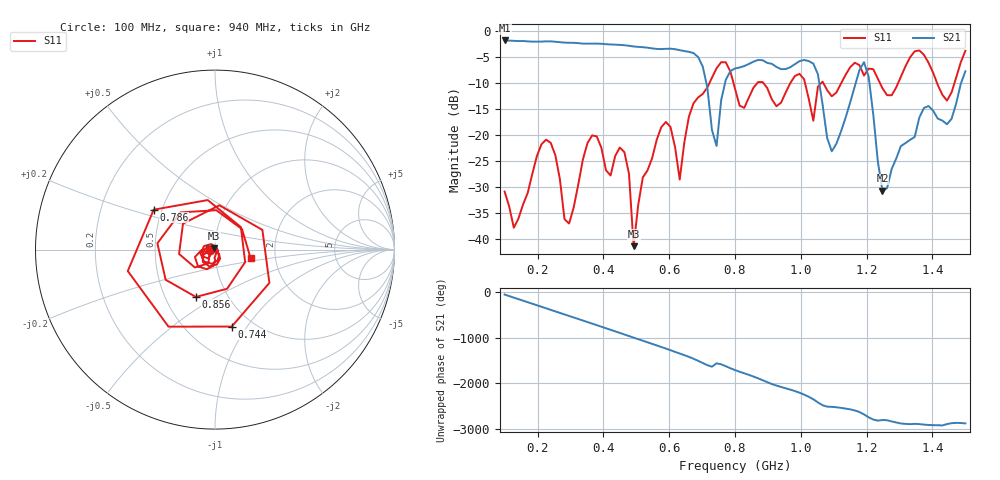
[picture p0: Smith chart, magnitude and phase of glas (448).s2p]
! NanoVNA-App
! Date: 2025-09-25 15:58:58
! Start: 100MHz Stop: 1,5GHz Points: 101
! S-Parameter data: F S11 S21 S12 S22
# Hz S RI R 50
!  Frequency  S11_Real  S11_Imag  S21_Real  S21_Imag  S12_Real  S12_Imag  S22_Real  S22_Imag
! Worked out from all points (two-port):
!   101 points, 100 MHz to 1.5 GHz, reference 50 ohm
!   highest |S21| = -1.80 dB at 100 MHz (marker M1); lowest = -30.8 dB at 1.248 GHz (marker M2)
!   |S21| within 3 dB of the highest: start of sweep to 684.4 MHz
!   lowest |S11| = -41.5 dB at 492 MHz (marker M3), VSWR 1.02, Z = 49.5 + j0.658 ohm
!   |S11| at or under -10 dB: start of sweep to 722.5 MHz; 795.4 MHz to 867.8 MHz (72.48 MHz wide, 8.72 % of centre); 886.2 MHz to 968.3 MHz (82.08 MHz wide, 8.85 % of centre) (the widest 3 of 7)
!   S12 and S22 are empty: the file has one direction only
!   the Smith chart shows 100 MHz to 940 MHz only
!   S11 on the Smith chart (normalised r, x): 100 MHz: 0.95, -0.01; 744 MHz: 0.80, -0.85; 786 MHz: 0.45, +0.24; 856 MHz: 0.71, -0.41; 940 MHz: 1.49, -0.15
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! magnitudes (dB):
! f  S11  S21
! 100 MHz  -30.9  -1.8
! 128 MHz  -37.9  -1.9
! 226 MHz  -20.9  -2.0
! 296 MHz  -37.1  -2.2
! 338 MHz  -24.7  -2.4
! 464 MHz  -23.3  -2.7
! 492 MHz  -41.5  -3.0
! 576 MHz  -18.5  -3.5
! 632 MHz  -28.6  -3.7
! 702 MHz  -12.1  -6.8
! 744 MHz  -7.2  -22.2
! 786 MHz  -7.8  -7.7
! 800 MHz  -11.1  -7.2
! 856 MHz  -10.9  -5.9
! 940 MHz  -13.8  -7.3
! 996 MHz  -8.2  -5.8
! 1.038 GHz  -17.3  -6.3
! 1.094 GHz  -12.6  -23.2
! 1.192 GHz  -8.6  -6.0
! 1.248 GHz  -11.0  -30.8
! 1.276 GHz  -12.4  -26.6
! 1.5 GHz  -3.8  -7.7
